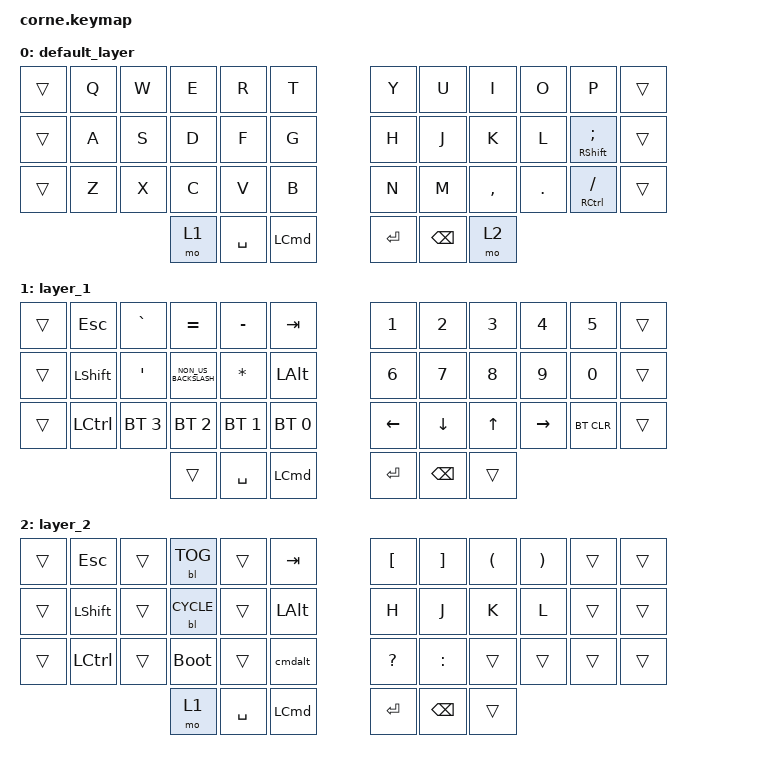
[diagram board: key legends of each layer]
/*
 * Copyright (c) 2020 The ZMK Contributors
 *
 * SPDX-License-Identifier: MIT
 */

#include <behaviors.dtsi>
#include <dt-bindings/zmk/backlight.h>
#include <dt-bindings/zmk/bt.h>
#include <dt-bindings/zmk/keys.h>

&led_strip { chain-length = <27>; };

/ {
    macros {
        cmdalt: cmdalt {
            compatible = "zmk,behavior-macro";
            #binding-cells = <0>;
            bindings = <&kp LGUI &kp LEFT_ALT>;
            label = "CMDALT";
        };
    };

    keymap {
        compatible = "zmk,keymap";

        default_layer {
            bindings = <
&trans  &kp Q  &kp W  &kp E  &kp R      &kp T               &kp Y      &kp U          &kp I      &kp O    &kp P            &trans
&trans  &kp A  &kp S  &kp D  &kp F      &kp G               &kp H      &kp J          &kp K      &kp L    &mt RSHIFT SEMI  &trans
&trans  &kp Z  &kp X  &kp C  &kp V      &kp B               &kp N      &kp M          &kp COMMA  &kp DOT  &mt RCTRL FSLH   &trans
                      &mo 1  &kp SPACE  &kp LEFT_COMMAND    &kp ENTER  &kp BACKSPACE  &mo 2
            >;
        };

        layer_1 {
            bindings = <
&trans  &kp ESC         &kp GRAVE     &kp EQUAL             &kp MINUS     &kp TAB             &kp NUMBER_1    &kp NUMBER_2    &kp NUMBER_3  &kp NUMBER_4     &kp N5      &trans
&trans  &kp LEFT_SHIFT  &kp SQT       &kp NON_US_BACKSLASH  &kp ASTRK     &kp LEFT_ALT        &kp NUMBER_6    &kp N7          &kp N8        &kp N9           &kp N0      &trans
&trans  &kp LCTRL       &bt BT_SEL 3  &bt BT_SEL 2          &bt BT_SEL 1  &bt BT_SEL 0        &kp LEFT_ARROW  &kp DOWN_ARROW  &kp UP_ARROW  &kp RIGHT_ARROW  &bt BT_CLR  &trans
                                      &trans                &kp SPACE     &kp LEFT_COMMAND    &kp ENTER       &kp BACKSPACE   &trans
            >;
        };

        layer_2 {
            bindings = <
&trans  &kp ESC         &trans  &bl BL_TOG    &trans     &kp TAB             &kp LEFT_BRACKET  &kp RIGHT_BRACKET  &kp LEFT_PARENTHESIS  &kp RIGHT_PARENTHESIS  &trans  &trans
&trans  &kp LEFT_SHIFT  &trans  &bl BL_CYCLE  &trans     &kp LEFT_ALT        &kp H             &kp J              &kp K                 &kp L                  &trans  &trans
&trans  &kp LCTRL       &trans  &bootloader   &trans     &cmdalt             &kp QUESTION      &kp COLON          &trans                &trans                 &trans  &trans
                                &mo 1         &kp SPACE  &kp LEFT_COMMAND    &kp ENTER         &kp BACKSPACE      &trans
            >;
        };
    };
};
